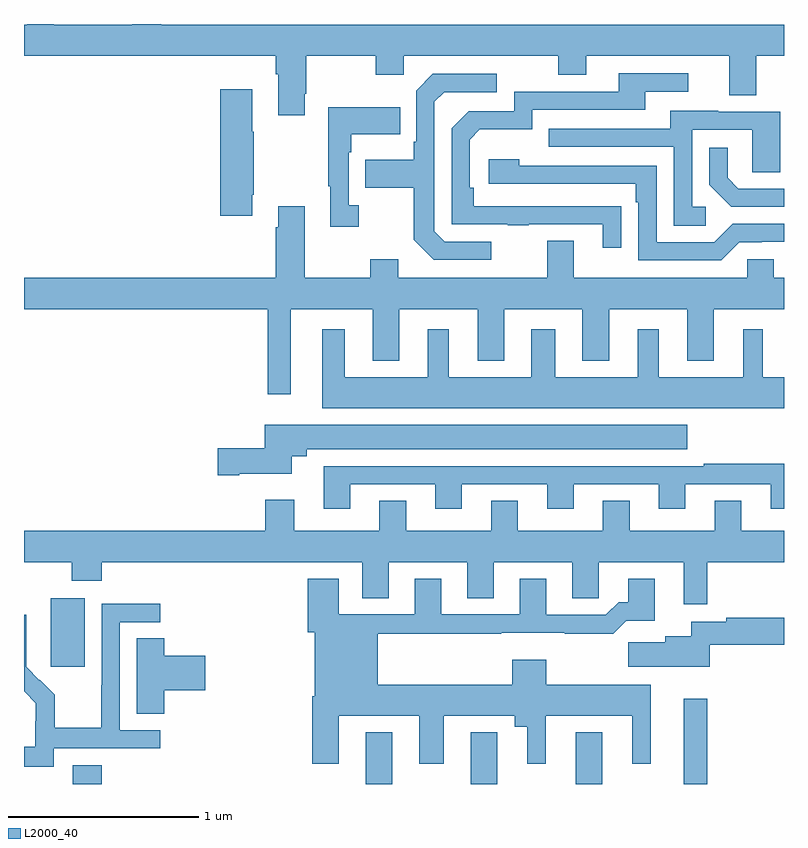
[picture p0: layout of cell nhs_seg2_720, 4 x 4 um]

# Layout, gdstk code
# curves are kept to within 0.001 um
import gdstk
lib = gdstk.Library(unit=1e-6, precision=1e-09)
def R(c, l, rs):  # rectangles x0, y0, x1, y1
    for r in rs: c.add(gdstk.rectangle(r[:2], r[2:], *l))
def A(c, l, x, y, w, h, nx, ny, dx, dy):  # array of equal rectangles
    R(c, l, [(x+i*dx, y+j*dy, x+i*dx+w, y+j*dy+h) for i in range(nx) for j in range(ny)])
def P(c, l, *ps):  # polygons
    for p in ps: c.add(gdstk.Polygon(p, *l))
L2000_40 = (2000, 40)

nhs_seg2_720 = lib.new_cell('nhs_seg2_720')
A(nhs_seg2_720, L2000_40, 148.799, 647.8, 0.14, 0.273, 3, 1, 0.552, 0)
R(nhs_seg2_720, L2000_40, [(147.257,647.8,147.41,647.899), (150.473,647.8,150.595,648.25), (147.14,648.417,147.319,648.778)])
P(nhs_seg2_720, L2000_40, [(148.477,651.433),(148.485,651.433),(148.485,651.632),(148.852,651.632),(148.852,651.533),(148.998,651.533),(148.998,651.632),(149.812,651.632),(149.812,651.533),(149.959,651.533),(149.959,651.632),(150.713,651.632),(150.713,651.424),(150.853,651.424),(150.853,651.632),(151,651.632),(151,651.796),(147.722,651.796),(147.722,651.8),(147.569,651.8),(147.569,651.796),(147.157,651.796),(147.157,651.8),(147.017,651.8),(147.017,651.796),(147,651.796),(147,651.632),(148.325,651.632),(148.325,651.536),(148.337,651.536),(148.337,651.321),(148.477,651.321)],
  [(150.143,650.84),(149.366,650.841),(149.366,650.938),(149.346,650.938),(149.346,651.192),(149.399,651.245),(149.676,651.245),(149.676,651.348),(150.271,651.348),(150.271,651.444),(150.496,651.444),(150.496,651.54),(150.131,651.54),(150.131,651.444),(149.58,651.444),(149.58,651.342),(149.34,651.342),(149.25,651.252),(149.25,650.745),(149.545,650.745),(149.545,650.74),(149.657,650.74),(149.657,650.745),(150.047,650.745),(150.047,650.622),(150.143,650.622)],
  [(149.458,650.655),(149.214,650.655),(149.16,650.709),(149.16,651.39),(149.211,651.441),(149.488,651.441),(149.488,651.537),(149.151,651.537),(149.064,651.45),(149.064,651.181),(149.052,651.181),(149.052,651.085),(148.795,651.085),(148.795,650.938),(149.052,650.938),(149.052,650.665),(149.157,650.559),(149.458,650.559)],
  [(148.201,650.902),(148.209,650.902),(148.209,651.233),(148.201,651.233),(148.201,651.457),(148.034,651.457),(148.034,650.79),(148.201,650.79)],
  [(148.762,650.846),(148.71,650.846),(148.71,651.125),(148.723,651.125),(148.723,651.221),(148.979,651.221),(148.979,651.361),(148.602,651.361),(148.602,650.945),(148.613,650.945),(148.613,650.733),(148.762,650.733)],
  [(150.589,650.838),(150.516,650.838),(150.516,651.243),(150.834,651.243),(150.834,651.019),(150.979,651.019),(150.979,651.339),(150.655,651.339),(150.655,651.343),(150.401,651.343),(150.401,651.249),(149.761,651.249),(149.761,651.153),(150.42,651.153),(150.42,650.737),(150.589,650.737)],
  [(151,650.934),(150.76,650.934),(150.703,650.991),(150.703,651.148),(150.606,651.148),(150.606,650.954),(150.722,650.838),(151,650.838)],
  [(150.765,650.652),(150.884,650.652),(150.884,650.655),(151,650.654),(151,650.748),(150.729,650.748),(150.633,650.652),(150.33,650.652),(150.33,651.054),(149.606,651.054),(149.606,651.088),(149.445,651.088),(149.445,650.958),(150.221,650.958),(150.221,650.861),(150.234,650.861),(150.234,650.556),(150.669,650.556)],
  [(148.405,650.3),(148.835,650.3),(148.835,650.027),(148.975,650.027),(148.975,650.3),(149.387,650.3),(149.387,650.027),(149.527,650.027),(149.527,650.3),(149.939,650.3),(149.939,650.027),(150.079,650.027),(150.079,650.3),(150.491,650.3),(150.491,650.027),(150.631,650.027),(150.631,650.3),(151,650.3),(151,650.464),(150.945,650.464),(150.945,650.562),(150.807,650.562),(150.807,650.464),(149.893,650.464),(149.893,650.659),(149.753,650.659),(149.753,650.464),(148.969,650.464),(148.969,650.563),(148.822,650.563),(148.822,650.464),(148.477,650.464),(148.477,650.842),(148.337,650.842),(148.337,650.729),(148.325,650.729),(148.325,650.464),(147,650.464),(147,650.3),(148.284,650.3),(148.284,649.851),(148.405,649.851)],
  [(151,649.942),(150.889,649.942),(150.889,650.194),(150.785,650.194),(150.785,649.942),(150.34,649.942),(150.34,650.194),(150.23,650.194),(150.23,649.942),(149.797,649.942),(149.797,650.194),(149.669,650.194),(149.669,649.942),(149.236,649.942),(149.236,650.194),(149.126,650.194),(149.126,649.942),(148.687,649.942),(148.687,650.194),(148.571,650.194),(148.571,649.778),(151,649.778)],
  [(148.132,649.433),(148.408,649.433),(148.408,649.526),(148.489,649.526),(148.489,649.562),(150.49,649.562),(150.49,649.69),(148.268,649.69),(148.268,649.568),(148.02,649.568),(148.02,649.426),(148.132,649.426)],
  [(148.717,649.377),(149.165,649.377),(149.165,649.248),(149.305,649.248),(149.305,649.377),(149.753,649.377),(149.753,649.248),(149.893,649.248),(149.893,649.377),(150.341,649.377),(150.341,649.248),(150.481,649.248),(150.481,649.377),(150.929,649.377),(150.929,649.248),(151,649.248),(151,649.486),(150.577,649.486),(150.577,649.473),(148.577,649.473),(148.577,649.248),(148.717,649.248)],
  [(150.595,648.968),(151,648.968),(151,649.132),(150.775,649.132),(150.775,649.292),(150.635,649.292),(150.635,649.132),(150.187,649.132),(150.187,649.292),(150.047,649.292),(150.047,649.132),(149.599,649.132),(149.599,649.292),(149.459,649.292),(149.459,649.132),(149.011,649.132),(149.011,649.292),(148.871,649.292),(148.871,649.132),(148.423,649.132),(148.423,649.297),(148.271,649.297),(148.271,649.132),(147,649.132),(147,648.968),(147.25,648.968),(147.25,648.869),(147.41,648.869),(147.41,648.968),(148.781,648.968),(148.781,648.778),(148.921,648.778),(148.921,648.968),(149.333,648.968),(149.333,648.778),(149.473,648.778),(149.473,648.968),(149.885,648.968),(149.885,648.778),(150.024,648.778),(150.024,648.968),(150.473,648.968),(150.473,648.747),(150.595,648.747)],
  [(148.657,648.158),(149.081,648.158),(149.081,647.907),(149.209,647.907),(149.209,648.158),(149.582,648.158),(149.582,648.101),(149.648,648.101),(149.648,647.907),(149.746,647.907),(149.746,648.158),(150.2,648.158),(150.2,647.907),(150.298,647.907),(150.298,648.322),(149.748,648.322),(149.748,648.454),(149.57,648.454),(149.57,648.322),(148.861,648.322),(148.861,648.592),(149.513,648.592),(149.513,648.596),(149.845,648.596),(149.845,648.59),(150.101,648.59),(150.17,648.659),(150.319,648.659),(150.319,648.88),(150.179,648.88),(150.179,648.757),(150.13,648.757),(150.063,648.69),(149.749,648.69),(149.749,648.88),(149.609,648.88),(149.609,648.693),(149.197,648.693),(149.197,648.88),(149.057,648.88),(149.057,648.693),(148.657,648.693),(148.657,648.88),(148.493,648.88),(148.493,648.6),(148.529,648.6),(148.529,648.262),(148.517,648.262),(148.517,647.907),(148.657,647.907)],
  [(147.156,647.988),(147.718,647.988),(147.718,648.084),(147.504,648.084),(147.504,648.651),(147.718,648.651),(147.718,648.75),(147.408,648.75),(147.408,648.32),(147.406,648.32),(147.406,648.097),(147.161,648.097),(147.161,648.271),(147.084,648.348),(147.081,648.345),(147.011,648.416),(147.012,648.692),(147,648.692),(147,648.288),(147.062,648.226),(147.062,648.129),(147.06,648.129),(147.06,647.995),(147,647.995),(147,647.891),(147.156,647.891)],
  [(150.609,648.533),(151,648.533),(151,648.675),(150.696,648.675),(150.696,648.655),(150.513,648.655),(150.513,648.577),(150.374,648.577),(150.374,648.545),(150.18,648.545),(150.18,648.416),(150.609,648.416)],
  [(147.737,648.293),(147.955,648.293),(147.955,648.476),(147.737,648.476),(147.737,648.566),(147.593,648.566),(147.593,648.169),(147.737,648.169)])

lib.write_gds('nhs_seg2_720.gds')
